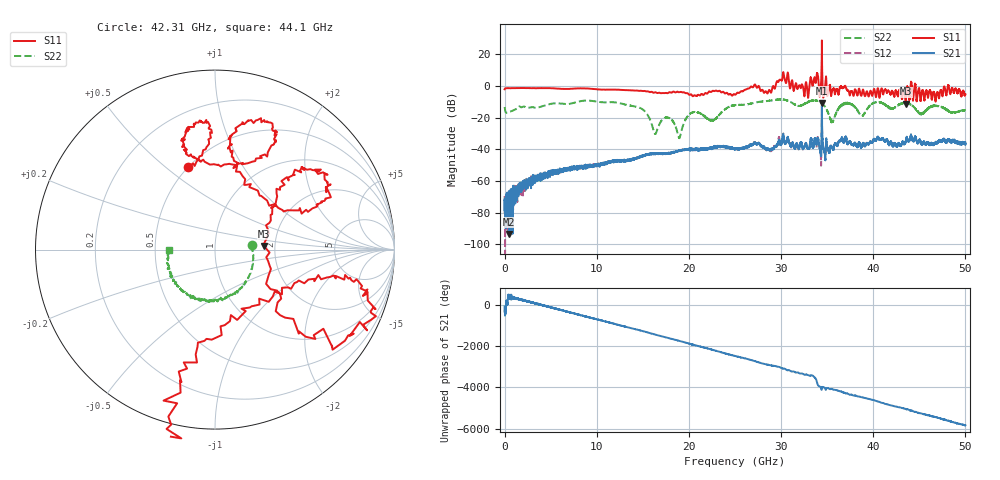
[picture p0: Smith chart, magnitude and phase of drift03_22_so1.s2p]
!Created with skrf (http://scikit-rf.org).
# Hz S RI R 50.0
!freq ReS11 ImS11 ReS21 ImS21 ReS12 ImS12 ReS22 ImS22
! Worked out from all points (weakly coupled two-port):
!   10000 points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, 5.3 MHz to 50 GHz, reference 50 ohm
!   highest |S21| = -10.72 dB at 34.43 GHz (marker M1); lowest = -93.6 dB at 470.3 MHz (marker M2)
!   lowest |S11| = -11.3 dB at 43.52 GHz (marker M3), VSWR 1.75, Z = 87.3 + j3.77 ohm
!   |S11| at or under -10 dB: 43.49474 GHz to 43.53921 GHz (44.47 MHz wide, 0.102 % of centre)
!   |S22| runs from -33.0 to -8.4 dB; largest |S21 - S12| = 0.078
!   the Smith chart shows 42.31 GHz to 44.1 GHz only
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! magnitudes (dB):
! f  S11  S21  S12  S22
! 5.3 MHz  -2.1  -72.4  -69.6  -13.3
! 470.3 MHz  -1.4  -93.6  -73.4  -16.5
! 2.675 GHz  -1.4  -58.2  -60.3  -13.7
! 8.34 GHz  -1.5  -50.3  -52.0  -9.5
! 14.53 GHz  -3.1  -45.1  -45.3  -13.5
! 16.67 GHz  -4.4  -42.8  -42.6  -25.9
! 17.81 GHz  -4.2  -42.5  -42.5  -20.1
! 18.97 GHz  -3.9  -41.0  -40.9  -33.0
! 20.28 GHz  -5.5  -40.1  -39.5  -17.0
! 22.57 GHz  -3.1  -39.4  -39.1  -21.8
! 25.01 GHz  -5.5  -39.5  -39.9  -12.1
! 28.72 GHz  -2.5  -40.4  -40.3  -9.3
! 30.14 GHz  4.4  -33.7  -34.0  -8.5
! 32.74 GHz  2.0  -36.8  -36.4  -10.6
! 33.34 GHz  2.6  -34.9  -35.1  -9.4
! 34.43 GHz  28.7  -10.7  -12.7  -10.9
! 35.54 GHz  -3.1  -39.0  -39.1  -23.1
! 36.98 GHz  0.0  -32.7  -33.1  -11.0
! 38.76 GHz  -5.5  -38.2  -38.3  -19.0
! 41.67 GHz  -3.1  -37.0  -36.7  -13.4
! 43.52 GHz  -11.3  -34.9  -35.1  -10.7
! 50 GHz  -5.3  -36.7  -35.9  -15.4
